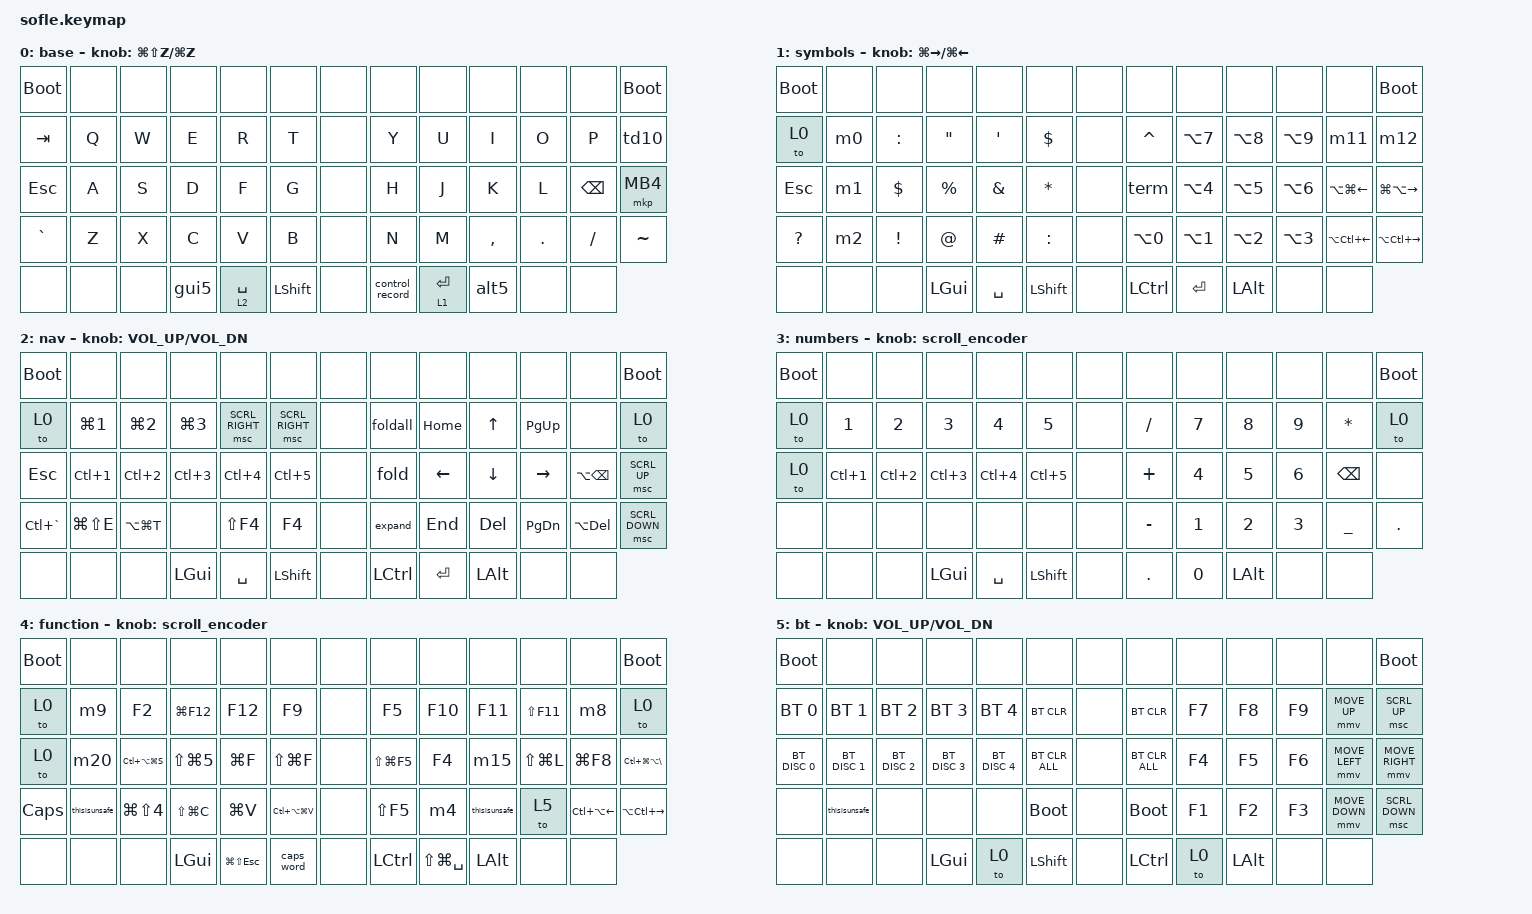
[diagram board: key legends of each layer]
#include <dt-bindings/zmk/mouse.h>
#include <behaviors/mouse_keys.dtsi>
#include <behaviors.dtsi>
#include <dt-bindings/zmk/bt.h>
#include <dt-bindings/zmk/keys.h>

&sl { release-after-ms = <60000>; };

&msc {
    acceleration-exponent = <2>;
    time-to-max-speed-ms = <1500>;
    delay-ms = <0>;
};

&mmv {
    time-to-max-speed-ms = <1500>;
    acceleration-exponent = <2>;
    trigger-period-ms = <16>;
};

/ {
    scroll_encoder: scroll_encoder {
        compatible = "zmk,behavior-sensor-rotate";
        #sensor-binding-cells = <0>;
        bindings = <&msc SCRL_DOWN>, <&msc SCRL_UP>;

        tap-ms = <100>;
    };

    macros {
        // M0: {} with cursor inside

        m0: m0 {
            compatible = "zmk,behavior-macro";
            #binding-cells = <0>;
            bindings = <&kp LEFT_BRACE &kp RBRC &kp LEFT_ARROW>;
            label = "M0";
        };

        // M1: () with cursor inside  

        m1: m1 {
            compatible = "zmk,behavior-macro";
            #binding-cells = <0>;
            bindings = <&kp LEFT_PARENTHESIS &kp RIGHT_PARENTHESIS &kp LEFT_ARROW>;
            label = "M1";
        };

        // M2: [] with cursor inside

        m2: m2 {
            compatible = "zmk,behavior-macro";
            #binding-cells = <0>;
            bindings = <&kp LEFT_BRACKET &kp RIGHT_BRACKET &kp LEFT_ARROW>;
            label = "M2";
        };

        // M3: Terminal command

        m3: m3 {
            compatible = "zmk,behavior-macro";
            #binding-cells = <0>;
            bindings =
                <&kp LG(LC(LA(T)))>,
                <&macro_wait_time 100>,
                <&kp LA(NUMBER_3)>;

            label = "M3";
        };

        // M4: Alt+7, Cmd+Enter

        m4: m4 {
            compatible = "zmk,behavior-macro";
            #binding-cells = <0>;
            bindings =
                <&kp LA(NUMBER_7)>,
                <&macro_wait_time 100>,
                <&kp LG(ENTER)>;

            label = "M4";
        };

        // M5: Cmd+K, Cmd+[

        m5: m5 {
            compatible = "zmk,behavior-macro";
            #binding-cells = <0>;
            bindings = <&kp LG(K) &kp LG(LEFT_BRACKET)>;
            label = "M5";
        };

        // M6: Cmd+K, Cmd+]

        m6: m6 {
            compatible = "zmk,behavior-macro";
            #binding-cells = <0>;
            bindings = <&kp LG(K) &kp LG(RIGHT_BRACKET)>;
            label = "M6";
        };

        // M7: Cmd+K, Cmd+0

        m7: m7 {
            compatible = "zmk,behavior-macro";
            #binding-cells = <0>;
            bindings = <&kp LG(K) &kp LG(NUMBER_0)>;
            label = "M7";
        };

        // M8: Alt+Cmd+P

        m8: m8 {
            compatible = "zmk,behavior-macro";
            #binding-cells = <0>;
            bindings =
                <&macro_press>,
                <&kp LALT &kp LGUI>,
                <&macro_tap>,
                <&kp P>,
                <&macro_release>,
                <&kp LALT &kp LGUI>;

            label = "M8";
        };

        // M9: ESC, ZZ (vim exit)

        m9: m9 {
            compatible = "zmk,behavior-macro";
            #binding-cells = <0>;
            bindings = <&kp ESC &kp LS(Z) &kp LS(Z)>;
            label = "M9";
        };

        // M10: Ctrl+Cmd+Q

        m10: m10 {
            compatible = "zmk,behavior-macro";
            #binding-cells = <0>;
            bindings = <&kp LC(LG(Q))>;
            label = "M10";
        };

        // M11: Alt+1, Ctrl+1

        m11: m11 {
            compatible = "zmk,behavior-macro";
            #binding-cells = <0>;
            bindings =
                <&kp LA(NUMBER_1)>,
                <&macro_wait_time 100>,
                <&kp LC(NUMBER_1)>;

            label = "M11";
        };

        // M12: Alt+1, Ctrl+2

        m12: m12 {
            compatible = "zmk,behavior-macro";
            #binding-cells = <0>;
            bindings =
                <&kp LA(NUMBER_1)>,
                <&macro_wait_time 100>,
                <&kp LC(NUMBER_2)>;

            label = "M12";
        };

        // M13: Alt+Ctrl+Left

        m13: m13 {
            compatible = "zmk,behavior-macro";
            #binding-cells = <0>;
            bindings = <&kp LA(LC(LEFT_ARROW))>;
            label = "M13";
        };

        // M14: Alt+Ctrl+Right

        m14: m14 {
            compatible = "zmk,behavior-macro";
            #binding-cells = <0>;
            bindings = <&kp LA(LC(RIGHT_ARROW))>;
            label = "M14";
        };

        // M15: "kubiya" text

        m15: m15 {
            compatible = "zmk,behavior-macro";
            #binding-cells = <0>;
            bindings = <&macro_tap>, <&kp K &kp U &kp B &kp I &kp Y &kp A>;

            label = "M15";
        };

        // M20: Ctrl+`, !!, Enter

        m20: m20 {
            compatible = "zmk,behavior-macro";
            #binding-cells = <0>;
            bindings =
                <&kp LC(GRAVE)>,
                <&macro_wait_time 100>,
                <&kp EXCL &kp EXCL &kp ENTER>;

            label = "M20";
        };

        // Legacy macros from original keymap

        arc1: arc1 {
            compatible = "zmk,behavior-macro";
            #binding-cells = <0>;
            bindings =
                <&kp LA(NUMBER_1)>,
                <&macro_wait_time 100>,
                <&kp LC(NUMBER_1)>;

            label = "ARC1";
        };

        arc2: arc2 {
            compatible = "zmk,behavior-macro";
            #binding-cells = <0>;
            bindings =
                <&kp LA(NUMBER_1)>,
                <&macro_wait_time 100>,
                <&kp LC(NUMBER_2)>;

            label = "ARC2";
        };

        parent: parent {
            compatible = "zmk,behavior-macro";
            #binding-cells = <0>;
            bindings = <&kp LEFT_PARENTHESIS &kp RIGHT_PARENTHESIS &kp LEFT_ARROW>;
            label = "PARENT";
        };

        brackets: brackets {
            compatible = "zmk,behavior-macro";
            #binding-cells = <0>;
            bindings = <&kp LEFT_BRACKET &kp RIGHT_BRACKET &kp LEFT_ARROW>;
            label = "BRACKETS";
        };

        term: term {
            compatible = "zmk,behavior-macro";
            #binding-cells = <0>;
            bindings =
                <&kp LG(LC(LA(T)))>,
                <&macro_wait_time 30>,
                <&kp LA(NUMBER_3)>;

            label = "TERM";
        };

        foldall: foldall {
            compatible = "zmk,behavior-macro";
            #binding-cells = <0>;
            bindings = <&kp LG(K) &kp LG(NUMBER_0)>;
            label = "FOLDALL";
        };

        fold: fold {
            compatible = "zmk,behavior-macro";
            #binding-cells = <0>;
            bindings = <&kp LG(K) &kp LG(LEFT_BRACKET)>;
            label = "FOLD";
        };

        expand: expand {
            compatible = "zmk,behavior-macro";
            #binding-cells = <0>;
            bindings = <&kp LG(K) &kp LG(RIGHT_BRACKET)>;
            label = "EXPAND";
        };

        exitvi: exitvi {
            compatible = "zmk,behavior-macro";
            #binding-cells = <0>;
            bindings = <&kp ESC &kp LS(Z) &kp LS(Z)>;
            label = "EXITVI";
        };

        thisisunsafe: thisisunsafe {
            compatible = "zmk,behavior-macro";
            #binding-cells = <0>;
            bindings = <&kp T &kp H &kp I &kp S &kp I &kp S &kp U &kp N &kp S &kp A &kp F &kp E>;
            label = "THISISUNSAFE";
        };

        bruno: bruno {
            compatible = "zmk,behavior-macro";
            #binding-cells = <0>;
            bindings = <&kp LA(NUMBER_7)>;
            label = "BRUNO";
        };
    };

    behaviors {
        td10: tap_dance_10 {
            compatible = "zmk,behavior-tap-dance";
            #binding-cells = <0>;
            tapping-term-ms = <200>;
            bindings = <&mkp MB5>, <&none>, <&m10>;
        };

        gui5: gui5 {
            compatible = "zmk,behavior-tap-dance";
            label = "GUI5";
            #binding-cells = <0>;
            bindings = <&kp LEFT_GUI>, <&kp LEFT_GUI>, <&to 5>;

            tapping-term-ms = <400>;
        };

        alt5: alt5 {
            compatible = "zmk,behavior-tap-dance";
            label = "ALT5";
            #binding-cells = <0>;
            bindings = <&kp LEFT_ALT>, <&kp LEFT_ALT>, <&to 5>;

            tapping-term-ms = <400>;
        };

        control_record: control_record {
            compatible = "zmk,behavior-tap-dance";
            label = "CONTROL_RECORD";
            #binding-cells = <0>;
            bindings = <&kp LEFT_CONTROL>, <&kp LA(LC(LG(BACKSLASH)))>;
        };
    };

    combos {
        compatible = "zmk,combos";
        timeout-ms = <150>;

        // Adapted combos for Sofle 60-key layout
        // Sofle key positions (main keys, excluding encoders):
        // Row 0:  0   1   2   3   4   5       7   8   9  10  11  12
        // Row 1: 13  14  15  16  17  18      20  21  22  23  24  25
        // Row 2: 26  27  28  29  30  31      33  34  35  36  37  38
        // Row 3: 39  40  41  42  43  44      46  47  48  49  50  51
        // Row 4: 52  53  54  55  56  57      59  60  61  62  63  64

        semicolon {
            bindings = <&kp SEMI>;
            key-positions = <31 18>; // R + F (Corne 5 17 → Sofle 17 30)
        };

        pipe {
            bindings = <&kp PIPE>;
            key-positions = <31 44>; // G + B (Corne 17 29 → Sofle 30 43)
        };

        slash {
            bindings = <&kp SLASH>;
            key-positions = <29 17>; // S + E (Corne 15 4 → Sofle 28 16)
        };

        backslash {
            bindings = <&kp BACKSLASH>;
            key-positions = <16 30>; // D + E (Corne 3 16 → Sofle 16 29)
        };

        dash {
            bindings = <&kp MINUS>;
            key-positions = <28 30>; // D + S (Corne 14 16 → Sofle 28 29)
        };

        underscore {
            bindings = <&kp UNDER>;
            key-positions = <41 43>; // X + V (Corne 26 28 → Sofle 41 43)
        };

        plus {
            bindings = <&kp PLUS>;
            key-positions = <34 36>; // J + L (Corne 19 21 → Sofle 34 36)
        };

        eql {
            bindings = <&kp EQUAL>;
            key-positions = <47 49>; // M + . (Corne 31 33 → Sofle 47 49)
        };

        mo3 {
            bindings = <&mo 3>;
            key-positions = <28 29 30>; // S + D + F (Corne 14 15 16 → Sofle 28 29 30)
        };

        mo4_right {
            bindings = <&sl 4>;
            key-positions = <34 35 36>; // J + K + L (Corne 19 20 21 → Sofle 34 35 36)
        };

        mo2 {
            bindings = <&mo 2>;
            key-positions = <28 16 30>; // S + E + F (Corne 14 3 16 → Sofle 28 16 30)
        };

        to2 {
            bindings = <&to 2>;
            key-positions = <27 28 16 30>; // A + S + E + F (Corne 13 14 3 16 → Sofle 27 28 16 30)
        };

        to3 {
            bindings = <&to 3>;
            key-positions = <27 28 29 30>; // A + S + D + F (Corne 13 14 15 16 → Sofle 27 28 29 30)
        };

        mouse1 {
            bindings = <&mkp LCLK>;
            key-positions = <13 26>; // W + D (Corne 0 12 → Sofle 13 26)
        };

        mouse2 {
            bindings = <&mkp RCLK>;
            key-positions = <26 39>; // A + C (Corne 12 24 → Sofle 26 39)
        };

        mo4_right2 {
            bindings = <&sl 4>;
            key-positions = <47 48 49>; // M + , + . (Corne 31 32 33 → Sofle 47 48 49)
        };

        bt0 {
            bindings = <&bt BT_SEL 0>;
            key-positions = <13 25>;
        };

        bt1 {
            bindings = <&bt BT_SEL 1>;
            key-positions = <14 25>;
        };

        bt2 {
            bindings = <&bt BT_SEL 2>;
            key-positions = <15 25>;
        };

        disconnect0 {
            bindings = <&bt BT_DISC 0>;
            key-positions = <26 25>;
        };

        disconnect1 {
            bindings = <&bt BT_DISC 1>;
            key-positions = <27 25>;
        };

        disconnect2 {
            bindings = <&bt BT_DISC 2>;
            key-positions = <28 25>;
        };

        clearall {
            bindings = <&bt BT_CLR_ALL>;
            key-positions = <13 26 39 25>;
        };

        disconnect_bt {
            bindings = <&bt BT_CLR>;
            key-positions = <13 26 25>;
        };

        left_brackets {
            bindings = <&kp LEFT_BRACKET>;
            key-positions = <26 27>;
        };

        right_brackets {
            bindings = <&kp RIGHT_BRACKET>;
            key-positions = <27 28>;
        };
    };

    keymap {
        compatible = "zmk,keymap";

        // Layer 0: Base layer adapted for Sofle from Corne
        // ┌───┬───┬───┬───┬───┬───┐     ┌───┬───┬───┬───┬───┬───┐
        // │BLD│ ∅ │ ∅ │ ∅ │ ∅ │ ∅ │     │ ∅ │ ∅ │ ∅ │ ∅ │ ∅ │BLD│
        // ├───┼───┼───┼───┼───┼───┤     ├───┼───┼───┼───┼───┼───┤
        // │TAB│ Q │ W │ E │ R │ T │     │ Y │ U │ I │ O │ P │TD10│
        // ├───┼───┼───┼───┼───┼───┤     ├───┼───┼───┼───┼───┼───┤
        // │ESC│ A │ S │ D │ F │ G │     │ H │ J │ K │ L │ ⌫ │MB4│
        // ├───┼───┼───┼───┼───┼───┤     ├───┼───┼───┼───┼───┼───┤
        // │ ` │ Z │ X │ C │ V │ B │     │ N │ M │ , │ . │ / │ ~ │
        // └───┴───┴───┼───┼───┼───┤     ├───┼───┼───┼───┴───┴───┘
        //             │GUI5│L2-SP│ ⇧ │     │ ⌃ │L1-⏎│ALT5│
        //             └───┴───┴───┘     └───┴───┴───┘

        base {
            bindings = <
&bootloader  &none  &none  &none  &none        &none        &none  &none            &none        &none      &none    &none      &bootloader
&kp TAB      &kp Q  &kp W  &kp E  &kp R        &kp T        &none  &kp Y            &kp U        &kp I      &kp O    &kp P      &td10
&kp ESCAPE   &kp A  &kp S  &kp D  &kp F        &kp G        &none  &kp H            &kp J        &kp K      &kp L    &kp BSPC   &mkp MB4
&kp GRAVE    &kp Z  &kp X  &kp C  &kp V        &kp B        &none  &kp N            &kp M        &kp COMMA  &kp DOT  &kp SLASH  &kp TILDE
&none        &none  &none  &gui5  &lt 2 SPACE  &kp LSHFT    &none  &control_record  &lt 1 ENTER  &alt5      &none    &none
            >;

            sensor-bindings = <&inc_dec_kp LG(LS(Z)) LG(Z)>;
            display-name = "base";
        };

        // Layer 1: Symbols layer adapted for Sofle from Corne
        // ┌───┬───┬───┬───┬───┬───┐     ┌───┬───┬───┬───┬───┬───┐
        // │BLD│ ∅ │ ∅ │ ∅ │ ∅ │ ∅ │     │ ∅ │ ∅ │ ∅ │ ∅ │ ∅ │BLD│
        // ├───┼───┼───┼───┼───┼───┤     ├───┼───┼───┼───┼───┼───┤
        // │TO0│{ }│ : │ " │ ' │ $ │     │ ^ │⌥ 7│⌥ 8│⌥ 9│M11│M12│
        // ├───┼───┼───┼───┼───┼───┤     ├───┼───┼───┼───┼───┼───┤
        // │ESC│( )│ $ │ % │ & │ * │     │TRM│⌥ 4│⌥ 5│⌥ 6│⌥⌘←│⌘⌥→│
        // ├───┼───┼───┼───┼───┼───┤     ├───┼───┼───┼───┼───┼───┤
        // │ ? │[ ]│ ! │ @ │ # │ : │     │⌥ 0│⌥ 1│⌥ 2│⌥ 3│⌥⌃←│⌥⌃→│
        // └───┴───┴───┼───┼───┼───┤     ├───┼───┼───┼───┴───┴───┘
        //             │ ⌘ │SPC│ ⇧ │     │ ⌃ │ ⏎ │ ⌥ │
        //             └───┴───┴───┘     └───┴───┴───┘

        symbols {
            bindings = <
&bootloader  &none  &none            &none        &none          &none           &none  &none       &none       &none       &none       &none             &bootloader
&to 0        &m0    &kp COLON        &kp DQT      &kp SQT        &kp DOLLAR      &none  &kp CARET   &kp LA(N7)  &kp LA(N8)  &kp LA(N9)  &m11              &m12
&kp ESC      &m1    &kp DOLLAR       &kp PERCENT  &kp AMPERSAND  &kp ASTERISK    &none  &term       &kp LA(N4)  &kp LA(N5)  &kp LA(N6)  &kp LA(LG(LEFT))  &kp LG(LA(RIGHT))
&kp QMARK    &m2    &kp EXCLAMATION  &kp AT       &kp HASH       &kp COLON       &none  &kp LA(N0)  &kp LA(N1)  &kp LA(N2)  &kp LA(N3)  &kp LA(LC(LEFT))  &kp LA(LC(RIGHT))
&none        &none  &none            &kp LGUI     &kp SPACE      &kp LSHFT       &none  &kp LCTRL   &kp RET     &kp LALT    &none       &none
            >;

            display-name = "symbols";
            sensor-bindings = <&inc_dec_kp LG(RIGHT) LG(LEFT)>;
        };

        // Layer 2: Navigation layer adapted for Sofle from Corne
        // ┌───┬───┬───┬───┬───┬───┐     ┌───┬───┬───┬───┬───┬───┐
        // │BLD│ ∅ │ ∅ │ ∅ │ ∅ │ ∅ │     │ ∅ │ ∅ │ ∅ │ ∅ │ ∅ │BLD│
        // ├───┼───┼───┼───┼───┼───┤     ├───┼───┼───┼───┼───┼───┤
        // │TO0│⌘ 1│⌘ 2│⌘ 3│SC→│SC→│     │FD*│HOM│ ▲ │PgU│   │TO0│
        // ├───┼───┼───┼───┼───┼───┤     ├───┼───┼───┼───┼───┼───┤
        // │ESC│⌃ 1│⌃ 2│⌃ 3│⌃ 4│⌃ 5│     │FLD│ ◄ │ ▼ │ ► │⌥ ⌫│SC↑│
        // ├───┼───┼───┼───┼───┼───┤     ├───┼───┼───┼───┼───┼───┤
        // │⌃ `│⌘⇧E│⌥⌘T│   │SF4│ F4│     │EXP│END│DEL│PgD│⌥ ⌦│SC↓│
        // └───┴───┴───┼───┼───┼───┤     ├───┼───┼───┼───┴───┴───┘
        //             │ ⌘ │SPC│ ⇧ │     │ ⌃ │ ⏎ │ ⌥ │
        //             └───┴───┴───┘     └───┴───┴───┘

        nav {
            bindings = <
&bootloader    &none          &none          &none       &none            &none              &none  &none             &none     &none     &none      &none         &bootloader
&to 0          &kp LG(N1)     &kp LG(N2)     &kp LG(N3)  &msc SCRL_RIGHT  &msc SCRL_RIGHT    &none  &foldall          &kp HOME  &kp UP    &kp PG_UP  &none         &to 0
&kp ESC        &kp LC(N1)     &kp LC(N2)     &kp LC(N3)  &kp LC(N4)       &kp LC(N5)         &none  &fold             &kp LEFT  &kp DOWN  &kp RIGHT  &kp LA(BSPC)  &msc SCRL_UP
&kp LC(GRAVE)  &kp LG(LS(E))  &kp LA(LG(T))  &none       &kp LS(F4)       &kp F4             &none  &expand           &kp END   &kp DEL   &kp PG_DN  &kp LA(DEL)   &msc SCRL_DOWN
&none          &none          &none          &kp LGUI    &kp SPACE        &kp LSHFT          &none  &kp LEFT_CONTROL  &kp RET   &kp LALT  &none      &none
            >;

            sensor-bindings = <&inc_dec_kp C_VOL_UP C_VOL_DN>;
            display-name = "nav";
        };

        // Layer 3: Numbers layer adapted for Sofle from Corne
        // ┌───┬───┬───┬───┬───┬───┐     ┌───┬───┬───┬───┬───┬───┐
        // │BLD│ ∅ │ ∅ │ ∅ │ ∅ │ ∅ │     │ ∅ │ ∅ │ ∅ │ ∅ │ ∅ │BLD│
        // ├───┼───┼───┼───┼───┼───┤     ├───┼───┼───┼───┼───┼───┤
        // │TO0│ 1 │ 2 │ 3 │ 4 │ 5 │     │ / │ 7 │ 8 │ 9 │ * │TO0│
        // ├───┼───┼───┼───┼───┼───┤     ├───┼───┼───┼───┼───┼───┤
        // │TO0│⌃ 1│⌃ 2│⌃ 3│⌃ 4│⌃ 5│     │ + │ 4 │ 5 │ 6 │ ⌫ │   │
        // ├───┼───┼───┼───┼───┼───┤     ├───┼───┼───┼───┼───┼───┤
        // │   │   │   │   │   │   │     │ - │ 1 │ 2 │ 3 │ _ │ . │
        // └───┴───┴───┼───┼───┼───┤     ├───┼───┼───┼───┴───┴───┘
        //             │ ⌘ │SPC│ ⇧ │     │ . │ 0 │ ⌥ │
        //             └───┴───┴───┘     └───┴───┴───┘

        numbers {
            bindings = <
&bootloader  &none       &none       &none       &none       &none               &none  &none      &none   &none     &none   &none         &bootloader
&to 0        &kp N1      &kp N2      &kp N3      &kp N4      &kp N5              &none  &kp SLASH  &kp N7  &kp N8    &kp N9  &kp ASTERISK  &to 0
&to 0        &kp LC(N1)  &kp LC(N2)  &kp LC(N3)  &kp LC(N4)  &kp LC(NUMBER_5)    &none  &kp PLUS   &kp N4  &kp N5    &kp N6  &kp BSPC      &none
&none        &none       &none       &none       &none       &none               &none  &kp MINUS  &kp N1  &kp N2    &kp N3  &kp UNDER     &kp DOT
&none        &none       &none       &kp LGUI    &kp SPACE   &kp LSHFT           &none  &kp DOT    &kp N0  &kp LALT  &none   &none
            >;

            sensor-bindings = <&scroll_encoder>;
            display-name = "numbers";
        };

        // Layer 4: Function layer adapted for Sofle from Corne
        // ┌───┬───┬───┬───┬───┬───┐     ┌───┬───┬───┬───┬───┬───┐
        // │BLD│ ∅ │ ∅ │ ∅ │ ∅ │ ∅ │     │ ∅ │ ∅ │ ∅ │ ∅ │ ∅ │BLD│
        // ├───┼───┼───┼───┼───┼───┤     ├───┼───┼───┼───┼───┼───┤
        // │TO0│M9 │ F2│⌘F12│F12│ F9│     │ F5│F10│F11│SF11│M8 │TO0│
        // ├───┼───┼───┼───┼───┼───┤     ├───┼───┼───┼───┼───┼───┤
        // │TO0│M20│CAG│⇧⌘5│⌘ F│⇧⌘F│     │⇧⌘F5│F4│M15│⇧⌘L│⌘F8│   │
        // ├───┼───┼───┼───┼───┼───┤     ├───┼───┼───┼───┼───┼───┤
        // │CAP│   │⌘⇧4│⇧⌘C│⌘ V│CAV│     │⇧ F5│M4│SAFE│TO5│⌥⌃←│⌥⌃→│
        // └───┴───┴───┼───┼───┼───┤     ├───┼───┼───┼───┴───┴───┘
        //             │ ⌘ │⌘⇧ESC│CPW│     │ ⌃ │⇧⌘SP│⌥ │
        //             └───┴───┴───┘     └───┴───┴───┘

        function {
            bindings = <
&bootloader  &none          &none                 &none           &none               &none                &none  &none           &none              &none          &none          &none             &bootloader
&to 0        &m9            &kp F2                &kp LG(F12)     &kp F12             &kp F9               &none  &kp F5          &kp F10            &kp F11        &kp LS(F11)    &m8               &to 0
&to 0        &m20           &kp LC(LA(LG(S)))     &kp LS(LG(N5))  &kp LG(F)           &kp LS(LG(F))        &none  &kp LS(LG(F5))  &kp F4             &m15           &kp LS(LG(L))  &kp LG(F8)        &kp LC(LG(LA(BACKSLASH)))
&kp CAPS     &thisisunsafe  &kp LG(LS(NUMBER_4))  &kp LS(LG(C))   &kp LG(V)           &kp LC(LA(LG(V)))    &none  &kp LS(F5)      &m4                &thisisunsafe  &to 5          &kp LC(LA(LEFT))  &kp LA(LC(RIGHT))
&none        &none          &none                 &kp LGUI        &kp LG(LS(ESCAPE))  &caps_word           &none  &kp LCTRL       &kp LS(LG(SPACE))  &kp LALT       &none          &none
            >;

            sensor-bindings = <&scroll_encoder>;
            display-name = "function";
        };

        // Layer 5: Bluetooth & Mouse layer adapted for Sofle from Corne
        // ┌───┬───┬───┬───┬───┬───┐     ┌───┬───┬───┬───┬───┬───┐
        // │BLD│ ∅ │ ∅ │ ∅ │ ∅ │ ∅ │     │ ∅ │ ∅ │ ∅ │ ∅ │ ∅ │BLD│
        // ├───┼───┼───┼───┼───┼───┤     ├───┼───┼───┼───┼───┼───┤
        // │BT0│BT1│BT2│BT3│BT4│CLR│     │CLR│ F7│ F8│ F9│M↑ │S↑ │
        // ├───┼───┼───┼───┼───┼───┤     ├───┼───┼───┼───┼───┼───┤
        // │DC0│DC1│DC2│DC3│DC4│C-A│     │C-A│ F4│ F5│ F6│M← │M→ │
        // ├───┼───┼───┼───┼───┼───┤     ├───┼───┼───┼───┼───┼───┤
        // │   │SAFE│  │   │   │BLD│     │BLD│ F1│ F2│ F3│M↓ │S↓ │
        // └───┴───┴───┼───┼───┼───┤     ├───┼───┼───┼───┴───┴───┘
        //             │ ⌘ │TO0│ ⇧ │     │ ⌃ │TO0│ ⌥ │
        //             └───┴───┴───┘     └───┴───┴───┘

        bt {
            bindings = <
&bootloader    &none          &none          &none          &none          &none             &none  &none             &none   &none     &none   &none           &bootloader
&bt BT_SEL 0   &bt BT_SEL 1   &bt BT_SEL 2   &bt BT_SEL 3   &bt BT_SEL 4   &bt BT_CLR        &none  &bt BT_CLR        &kp F7  &kp F8    &kp F9  &mmv MOVE_UP    &msc SCRL_UP
&bt BT_DISC 0  &bt BT_DISC 1  &bt BT_DISC 2  &bt BT_DISC 3  &bt BT_DISC 4  &bt BT_CLR_ALL    &none  &bt BT_CLR_ALL    &kp F4  &kp F5    &kp F6  &mmv MOVE_LEFT  &mmv MOVE_RIGHT
&none          &thisisunsafe  &none          &none          &none          &bootloader       &none  &bootloader       &kp F1  &kp F2    &kp F3  &mmv MOVE_DOWN  &msc SCRL_DOWN
&none          &none          &none          &kp LEFT_GUI   &to 0          &kp LEFT_SHIFT    &none  &kp LEFT_CONTROL  &to 0   &kp LALT  &none   &none
            >;

            sensor-bindings = <&inc_dec_kp C_VOL_UP C_VOL_DN>;
            display-name = "bt";
        };
    };

    conditional_layers {
    };
};
